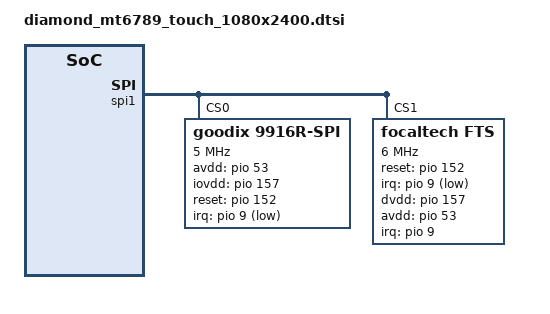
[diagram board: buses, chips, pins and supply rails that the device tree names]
/*
 * Copyright (c) 2019 MediaTek Inc.
 *
 * This program is free software; you can redistribute it and/or modify
 * it under the terms of the GNU General Public License version 2 as
 * published by the Free Software Foundation.
 *
 * This program is distributed in the hope that it will be useful,
 * but WITHOUT ANY WARRANTY; without even the implied warranty of
 * MERCHANTABILITY or FITNESS FOR A PARTICULAR PURPOSE.  See the
 * GNU General Public License for more details.
 */
/* TOUCH start */
&spi1 {
	goodix@0 {
			compatible = "goodix,9916r-spi";
			reg = <0>;
			status = "ok";
			spi-max-frequency = <5000000>;
			goodix,avdd-name = "avdd";
			goodix,avdd-gpio = <&pio 53 0x00>;
			goodix,iovdd-name = "iovdd";
			goodix,iovdd-gpio = <&pio 157 0x00>;
			goodix,reset-gpio = <&pio 152 0x0>;
			goodix,irq-gpio = <&pio 9 0x2001>;
			goodix,irq-flags = <2>; /* 1:trigger rising, 2:trigger falling; */
			goodix,panel-max-x = <10800>;
			goodix,panel-max-y = <24000>;
			goodix,panel-max-w = <255>;
			/* optional properties */
			goodix,panel-max-p = <4096>; /* max pressure that pen device supported */
			//goodix,pen-enable; /* support active stylus device*/
			goodix.sleep-enable; /* enter sleep mode */
			goodix,firmware-name = "gt9916r_ts_fw_tm.bin";
			goodix,config-name = "goodix_cfg_group.bin";
			goodix,touch-expert-array = <2 3 2 2
																		4 3 3 2
																		3 3 4 2>;
		};
	focaltech@0 {
			compatible = "focaltech,fts";  //ft3680
			reg = <1>;
			status = "ok";
			//panel = <&m6_42_0d_0b_dsc_vdo>;
			spi-max-frequency = <6000000>;
			interrupt-parent = <&pio>;
			interrupts = <9 0x2>;
			focaltech,reset-gpio =  <&pio 152 0x00>;
			focaltech,irq-gpio = <&pio 9 0x2001>;
			focaltech,dvdd-gpio = <&pio 157 0x00>;
			focaltech,avdd-gpio = <&pio 53 0x00>;
			focaltech,max-touch-number = <10>;
			focaltech,display-coords =  <0 0 10800 24000>;
		};
};
/* TOUCH end */

